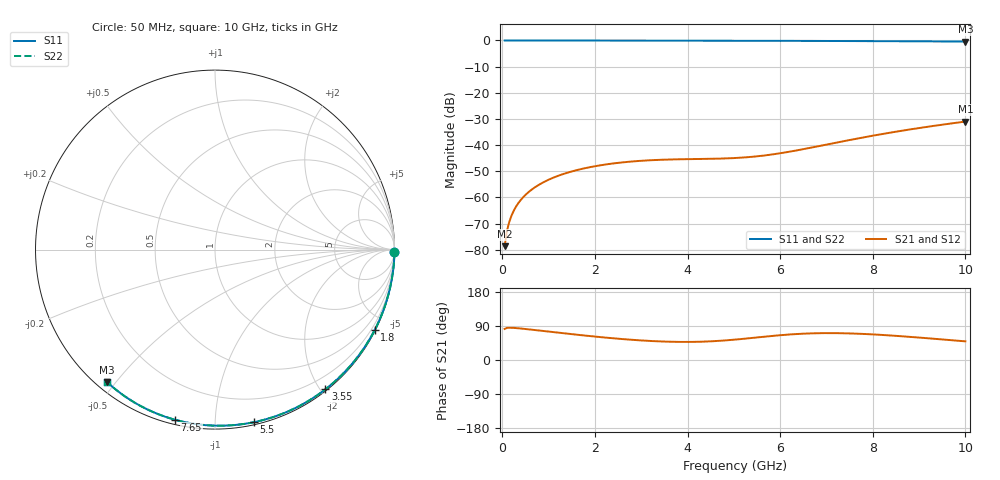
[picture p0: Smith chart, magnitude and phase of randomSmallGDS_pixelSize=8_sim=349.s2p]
! freq	dB(S11)	phase(S11)	dB(S12)	phase(S12)
!  dB(S21)	phase(S21)	dB(S22)	phase(S22)
!S-par simulation data
#  GHz  S  DB  R 50
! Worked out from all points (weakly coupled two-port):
!   200 points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, 50 MHz to 10 GHz, reference 50 ohm
!   highest |S21| = -31.01 dB at 10 GHz (marker M1); lowest = -78.7 dB at 50 MHz (marker M2)
!   lowest |S11| = -0.4 dB at 10 GHz (marker M3), VSWR 40.49, Z = 1.51 - j23.7 ohm
!   |S11| at or under -10 dB: nowhere
!   |S22| runs from -0.4 to 0.0 dB; largest |S21 - S12| = 0
!   S11 on the Smith chart (normalised r, x): 50 MHz: open; 1.8 GHz: 0.04, -4.20; 3.55 GHz: 0.02, -2.07; 5.5 GHz: 0.02, -1.25; 7.65 GHz: 0.02, -0.79; 10 GHz: 0.03, -0.47
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0.05  -0.00 -0.8  -78.66 82.0  -78.66 82.0  -0.00 -0.8
0.1  -0.00 -1.5  -72.88 84.6  -72.88 84.6  -0.00 -1.5
0.15  -0.00 -2.3  -69.41 85.1  -69.41 85.1  -0.00 -2.3
0.2  -0.00 -3.0  -66.94 85.1  -66.94 85.1  -0.00 -3.0
0.25  -0.00 -3.8  -65.01 84.7  -65.01 84.7  -0.00 -3.8
0.35  -0.00 -5.3  -62.11 83.7  -62.11 83.7  -0.00 -5.3
0.5  -0.01 -7.6  -59.06 81.8  -59.06 81.8  -0.01 -7.6
0.7  -0.01 -10.6  -56.20 79.1  -56.20 79.1  -0.01 -10.6
1  -0.02 -15.0  -53.25 75.0  -53.25 75.0  -0.02 -15.0
1.35  -0.03 -20.2  -50.88 70.2  -50.88 70.2  -0.03 -20.2
1.75  -0.03 -26.1  -48.98 64.9  -48.98 64.9  -0.03 -26.1
1.8  -0.03 -26.8  -48.79 64.3  -48.79 64.3  -0.03 -26.8
2.5  -0.05 -36.9  -46.80 56.2  -46.80 56.2  -0.05 -36.9
3.4  -0.07 -49.6  -45.64 49.1  -45.64 49.1  -0.07 -49.6
3.55  -0.07 -51.6  -45.55 48.4  -45.55 48.4  -0.07 -51.6
4.3  -0.09 -61.8  -45.31 48.3  -45.31 48.3  -0.09 -61.8
5.05  -0.11 -71.6  -44.93 54.0  -44.93 54.0  -0.11 -71.6
5.5  -0.12 -77.3  -44.31 59.5  -44.31 59.5  -0.12 -77.4
6.7  -0.18 -92.1  -40.88 70.4  -40.88 70.4  -0.18 -92.1
7.65  -0.23 -103.2  -37.56 69.5  -37.56 69.5  -0.23 -103.2
8.35  -0.28 -111.1  -35.33 65.0  -35.33 65.0  -0.28 -111.1
10  -0.43 -129.2  -31.01 49.3  -31.01 49.3  -0.43 -129.2
